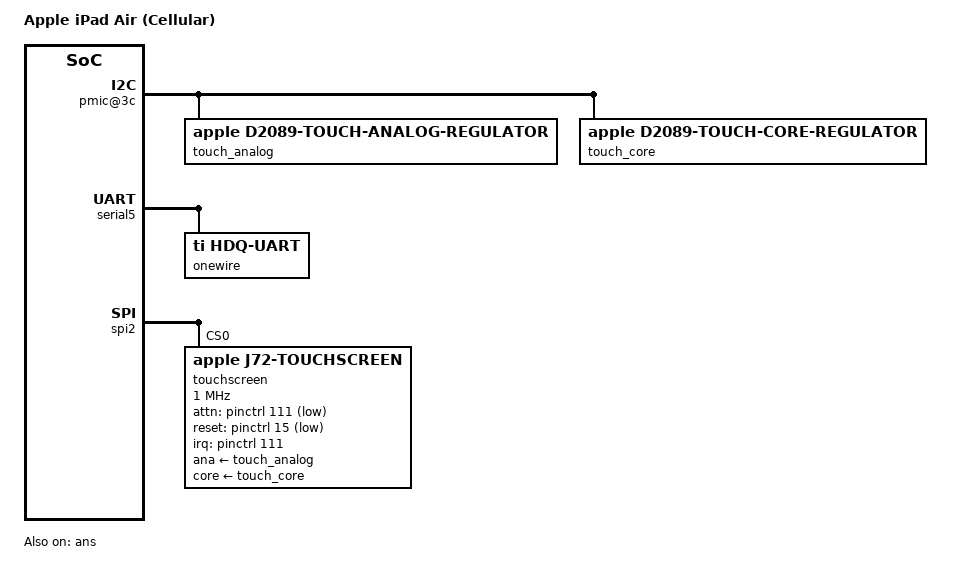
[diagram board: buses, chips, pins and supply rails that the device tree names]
// SPDX-License-Identifier: GPL-2.0+ OR MIT
/*
 * Apple iPad Air (Cellular), J72, iPad4,2 (A1475)
 * Copyright (c) 2022, Konrad Dybcio <konradybcio@kernel.org>
 */

/dts-v1/;

#include "s5l8960x-air1.dtsi"

/ {
	compatible = "apple,j72", "apple,s5l8960x", "apple,arm-platform";
	model = "Apple iPad Air (Cellular)";

	aliases {
		touchscreen0 = &touchscreen; /* Used by loader */
	};

	reserved-memory {
		ans_firmware: ans-firmware {
			/* Filled in by the loader. */
			reg = <0 0 0 0>;
			no-map;
		};
	};
};

&pinctrl {
	spi2_sleep_pins: spi2-sleep-pins {
		pinmux = <APPLE_PINMUX(79, 0)>;
	};

	touch_sync_active: touch-sync-active-pins {
		pinmux = <APPLE_PINMUX(119, 1)>;
	};

	touch_sync_inactive: touch-sync-inactive-pins {
		pinmux = <APPLE_PINMUX(119, 0)>;
	};
};

&{/soc/i2c@20a110000/pmic@3c} {
	touch_analog: regulator-touch-analog {
		compatible = "apple,d2089-touch-analog-regulator";
		regulator-name = "touch-analog";
	};

	touch_core: regulator-touch-core {
		compatible = "apple,d2089-touch-core-regulator";
		regulator-name = "touch-core";
	};
};

&ps_ans {
	apple,always-on;
};

&ans {
	memory-region = <&ans_firmware>;
	memory-region-names = "firmware";
	status = "okay";
};

&serial5 {
	status = "okay";

	onewire {
		compatible = "ti,hdq-uart";

		fuel-gauge {
			compatible = "apple,j72-bq27545", "ti,bq27545-hdq";
		};
	};
};

&touchclk {
	status = "okay";
};

&spi2 {
	pinctrl-names = "default", "sleep";
	pinctrl-1 = <&spi2_sleep_pins>;
	status = "okay";

	touchscreen: touchscreen@0 {
		compatible = "apple,j72-touchscreen";
		reg = <0>;
		spi-max-frequency = <1000000>;
		interrupt-parent = <&pinctrl>;
		interrupts = <111 IRQ_TYPE_EDGE_FALLING>;
		attn-gpios = <&pinctrl 111 GPIO_ACTIVE_LOW>;
		reset-gpios = <&pinctrl 15 GPIO_ACTIVE_LOW>;
		clocks = <&touchclk>;
		ana-supply = <&touch_analog>;
		core-supply = <&touch_core>;
		pinctrl-names = "display-sync-active", "display-sync-inactive";
		pinctrl-0 = <&touch_sync_active>;
		pinctrl-1 = <&touch_sync_inactive>;
		touchscreen-size-x = <14621>;
		touchscreen-size-y = <19539>;
		touchscreen-inverted-y;
		firmware-name = "apple/j72-fwstart.z2fw";
		/* apple,z2-cal-blob: the unit's calibration, filled in by the loader */
	};
};
